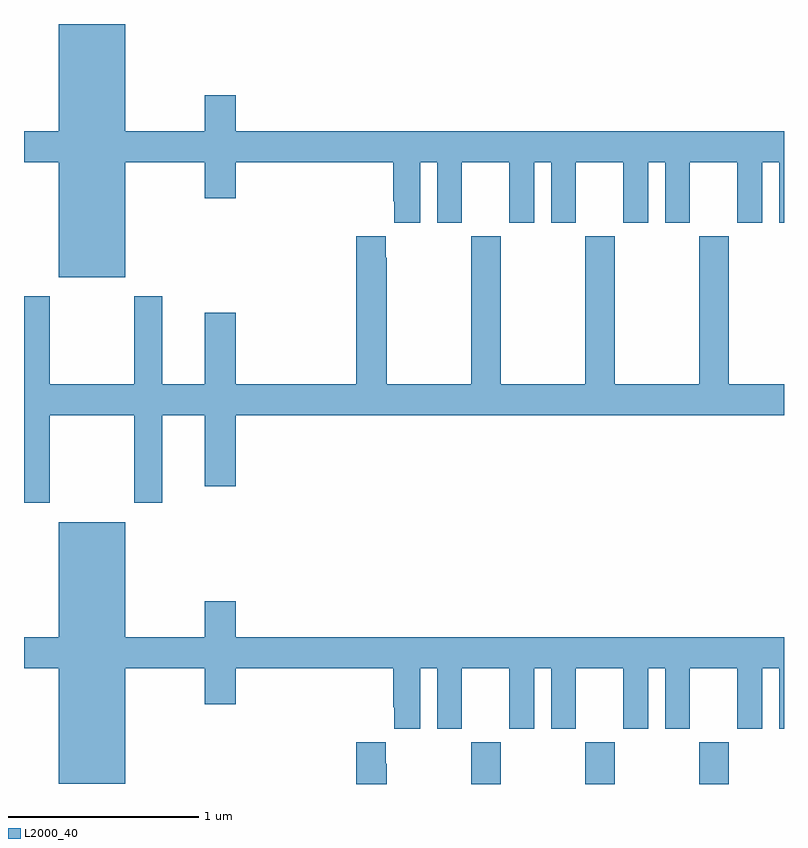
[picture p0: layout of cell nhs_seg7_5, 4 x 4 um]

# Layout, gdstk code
import gdstk
lib = gdstk.Library(unit=1e-6, precision=1e-09)
def R(c, l, rs):  # rectangles x0, y0, x1, y1
    for r in rs: c.add(gdstk.rectangle(r[:2], r[2:], *l))
def A(c, l, x, y, w, h, nx, ny, dx, dy):  # array of equal rectangles
    R(c, l, [(x+i*dx, y+j*dy, x+i*dx+w, y+j*dy+h) for i in range(nx) for j in range(ny)])
def P(c, l, *ps):  # polygons
    for p in ps: c.add(gdstk.Polygon(p, *l))
L2000_40 = (2000, 40)

nhs_seg7_5 = lib.new_cell('nhs_seg7_5')
A(nhs_seg7_5, L2000_40, 113.353, 1008, 0.155, 0.22, 3, 1, 0.6, 0)
P(nhs_seg7_5, L2000_40, [(111.532,1011.272),(111.95,1011.272),(111.95,1011.084),(112.114,1011.084),(112.114,1011.272),(112.943,1011.272),(112.943,1011.067),(112.949,1011.067),(112.949,1010.955),(113.086,1010.955),(113.086,1011.272),(113.174,1011.272),(113.174,1010.955),(113.305,1010.955),(113.305,1011.272),(113.555,1011.272),(113.555,1010.955),(113.686,1010.955),(113.686,1011.272),(113.774,1011.272),(113.774,1010.955),(113.905,1010.955),(113.905,1011.272),(114.155,1011.272),(114.155,1010.955),(114.286,1010.955),(114.286,1011.272),(114.374,1011.272),(114.374,1010.955),(114.505,1010.955),(114.505,1011.272),(114.755,1011.272),(114.755,1010.955),(114.886,1010.955),(114.886,1011.272),(114.974,1011.272),(114.974,1010.955),(115,1010.955),(115,1011.436),(112.114,1011.436),(112.114,1011.625),(111.95,1011.625),(111.95,1011.436),(111.532,1011.436),(111.532,1012),(111.182,1012),(111.182,1011.436),(111,1011.436),(111,1011.272),(111.182,1011.272),(111.182,1010.666),(111.532,1010.666)],
  [(111.135,1009.94),(111.58,1009.94),(111.58,1009.479),(111.727,1009.479),(111.727,1009.94),(111.95,1009.94),(111.95,1009.566),(112.114,1009.566),(112.114,1009.94),(115,1009.94),(115,1010.104),(114.708,1010.104),(114.708,1010.884),(114.553,1010.884),(114.553,1010.104),(114.108,1010.104),(114.108,1010.884),(113.953,1010.884),(113.953,1010.104),(113.508,1010.104),(113.508,1010.884),(113.353,1010.884),(113.353,1010.104),(112.908,1010.104),(112.908,1010.771),(112.903,1010.771),(112.903,1010.884),(112.748,1010.884),(112.748,1010.104),(112.114,1010.104),(112.114,1010.479),(111.95,1010.479),(111.95,1010.104),(111.727,1010.104),(111.727,1010.566),(111.58,1010.566),(111.58,1010.104),(111.135,1010.104),(111.135,1010.566),(111,1010.566),(111,1009.479),(111.135,1009.479)],
  [(111.532,1008.608),(111.95,1008.608),(111.95,1008.42),(112.114,1008.42),(112.114,1008.608),(112.943,1008.608),(112.943,1008.403),(112.949,1008.403),(112.949,1008.291),(113.086,1008.291),(113.086,1008.608),(113.174,1008.608),(113.174,1008.291),(113.305,1008.291),(113.305,1008.608),(113.555,1008.608),(113.555,1008.291),(113.686,1008.291),(113.686,1008.608),(113.774,1008.608),(113.774,1008.291),(113.905,1008.291),(113.905,1008.608),(114.155,1008.608),(114.155,1008.291),(114.286,1008.291),(114.286,1008.608),(114.374,1008.608),(114.374,1008.291),(114.505,1008.291),(114.505,1008.608),(114.755,1008.608),(114.755,1008.291),(114.886,1008.291),(114.886,1008.608),(114.974,1008.608),(114.974,1008.291),(115,1008.291),(115,1008.772),(112.114,1008.772),(112.114,1008.961),(111.95,1008.961),(111.95,1008.772),(111.532,1008.772),(111.532,1009.378),(111.182,1009.378),(111.182,1008.772),(111,1008.772),(111,1008.608),(111.182,1008.608),(111.182,1008.002),(111.532,1008.002)],
  [(112.908,1008.107),(112.903,1008.107),(112.903,1008.22),(112.748,1008.22),(112.748,1008),(112.908,1008)])

lib.write_gds('nhs_seg7_5.gds')
